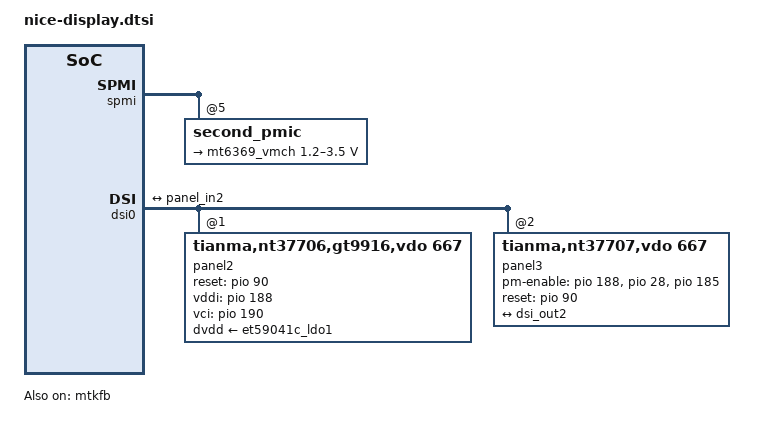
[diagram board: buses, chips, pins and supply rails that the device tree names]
/* Copyright (c) 2023, Motorola Mobility Inc. All rights reserved.
 *
 * This program is free software; you can redistribute it and/or modify
 * it under the terms of the GNU General Public License version 2 and
 * only version 2 as published by the Free Software Foundation.
 *
 * This program is distributed in the hope that it will be useful,
 * but WITHOUT ANY WARRANTY; without even the implied warranty of
 * MERCHANTABILITY or FITNESS FOR A PARTICULAR PURPOSE.  See the
 * GNU General Public License for more details.
 */
&spmi {
	second_pmic@5 {
		regulators {
			mt6369_vmch: vmch {
				regulator-compatible = "VMCH";
				regulator-name = "mt6369_vmch";
				regulator-min-microvolt = <1200000>;
				regulator-max-microvolt = <3500000>;
				regulator-enable-ramp-delay = <680>;
				regulator-allowed-modes = <0 2>;
			};
		};
	};
};

&mtk_leds {
	backlight {
		led-mode = <4>;
		max-brightness = <16380>;
		max-hw-brightness = <16380>;
	};
};

&mipi_tx_config0 {
	mipi-volt = <11>;
};

&dsi0 {
	status = "okay";
	#address-cells = <1>;
	#size-cells = <0>;
	switch-fps = <120>;
	panel1@0 {
		/delete-property/ compatible;
		/delete-property/ pm-enable-gpios;
		/delete-property/ reset-gpios;
		/delete-property/ gate-ic;
		/delete-property/ swap-from-dts;
		/delete-property/ lane-swap-setting;
		/delete-property/ pn-swap-setting;

        compatible = "mot,dummy,vdo,60hz";
        reg = <0>;
        reset-gpios = <&pio 90 0>;
		pinctrl-names = "default";
	};
	panel2@1 {
		/delete-property/ compatible;
		/delete-property/ pm-enable-gpios;
		/delete-property/ gate-ic;

		compatible = "tianma,nt37706,gt9916,vdo,667";
		reg = <1>;
		/*pm-enable-gpios = <&pio 149 0>;*/
		reset-gpios = <&pio 90 0>;
		vddi-gpios = <&pio 188 0>;
		dvdd-supply = <&et59041c_ldo1>;
		vci-gpios = <&pio 190 0>;
		res-switch = <2>;
		rc-enable = <1>;
		pinctrl-names = "default";
	};

	panel3@2 {
		/delete-property/ compatible;
		/delete-property/ pm-enable-gpios;
		/delete-property/ reset-gpios;
		/delete-property/ gate-ic;

		compatible = "tianma,nt37707,vdo,667";
		reg = <2>;

                pm-enable-gpios = <&pio 188 0>,
                          <&pio 28 0>,
                          <&pio 185 0>;
                reset-gpios = <&pio 90 0>;
		pinctrl-names = "default";
		port {
			panel_in2: endpoint@2 {
				remote-endpoint = <&dsi_out2>;
			};
		};
	};

	ports {
		port {
			dsi_out2: endpoint@2 {
				remote-endpoint = <&panel_in2>;
			};
		};
	};
};


&mtkfb {
	/delete-property/ pinctrl-names;
	/delete-property/ pinctrl-0;
	/delete-property/ pinctrl-1;
	/delete-property/ pinctrl-2;
	/delete-property/ pinctrl-3;
	/delete-property/ pinctrl-4;
	/delete-property/ pinctrl-5;
	/delete-property/ pinctrl-6;
	/delete-property/ pinctrl-7;
	/delete-property/ pinctrl-8;
	/delete-property/ pinctrl-9;
	/delete-property/ pinctrl-10;

	pinctrl-names = "lcm_rst_out0_gpio", "mode_te_te",
		"oled_vci_en_gpio", "oled_vio_en_gpio",
		"oled_dvdd_en_gpio";

	pinctrl-0 = <&mtkfb_pins_lcm_rst_out_gpio>;
	pinctrl-1 = <&mtkfb_pins_lcm_dsi_te>;
	pinctrl-2 = <&mtkfb_pins_oled_vci_en>;
	pinctrl-3 = <&mtkfb_pins_oled_vio_en>;
	pinctrl-4 = <&mtkfb_pins_oled_avdd_en0>;

	status = "okay";

};


&pio {
	mtkfb_pins_oled_vci_en: oled_vci_en_gpio {
		pins_cmd_dat {
			pinmux = <PINMUX_GPIO153__FUNC_GPIO153>;
			slew-rate = <1>;
			output-low;
		};
	};

	mtkfb_pins_oled_vio_en: oled_vio_en_gpio {
		pins_cmd_dat {
			pinmux = <PINMUX_GPIO188__FUNC_GPIO188>;
			slew-rate = <1>;
			output-low;
		};
	};

	mtkfb_pins_oled_avdd_en0: oled_dvdd_en_gpio {
		pins_cmd_dat {
			pinmux = <PINMUX_GPIO28__FUNC_GPIO28>;
			slew-rate = <1>;
			output-low;
		};
	};

	mtkfb_pins_lcm_rst_out_gpio: lcm_rst_out_gpio {
		pins_cmd_dat {
			pinmux = <PINMUX_GPIO90__FUNC_GPIO90>;
			slew-rate = <1>;
			output-low;
		};
	};
};

&i2c6 {
	gate_ic: gate-ic@11 {
		status = "disabled";
	};
};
